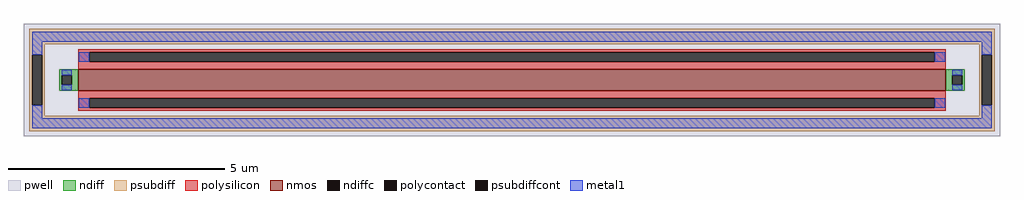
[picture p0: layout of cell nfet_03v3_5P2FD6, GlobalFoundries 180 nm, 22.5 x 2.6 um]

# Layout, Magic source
magic
tech gf180mcuD
magscale 1 10
<< pwell >>
rect -2250 -260 2250 260
<< nmos >>
rect -2000 -50 2000 50
<< ndiff >>
rect -2088 23 -2000 50
rect -2088 -23 -2075 23
rect -2029 -23 -2000 23
rect -2088 -50 -2000 -23
rect 2000 23 2088 50
rect 2000 -23 2029 23
rect 2075 -23 2088 23
rect 2000 -50 2088 -23
<< ndiffc >>
rect -2075 -23 -2029 23
rect 2029 -23 2075 23
<< psubdiff >>
rect -2226 164 2226 236
rect -2226 117 -2154 164
rect -2226 -117 -2213 117
rect -2167 -117 -2154 117
rect 2154 117 2226 164
rect -2226 -164 -2154 -117
rect 2154 -117 2167 117
rect 2213 -117 2226 117
rect 2154 -164 2226 -117
rect -2226 -236 2226 -164
<< psubdiffcont >>
rect -2213 -117 -2167 117
rect 2167 -117 2213 117
<< polysilicon >>
rect -2000 129 2000 142
rect -2000 83 -1950 129
rect 1950 83 2000 129
rect -2000 50 2000 83
rect -2000 -83 2000 -50
rect -2000 -129 -1950 -83
rect 1950 -129 2000 -83
rect -2000 -142 2000 -129
<< polycontact >>
rect -1950 83 1950 129
rect -1950 -129 1950 -83
<< metal1 >>
rect -2213 177 2213 223
rect -2213 117 -2167 177
rect -1998 83 -1950 129
rect 1950 83 1998 129
rect 2167 117 2213 177
rect -2075 23 -2029 48
rect -2075 -48 -2029 -23
rect 2029 23 2075 48
rect 2029 -48 2075 -23
rect -2213 -177 -2167 -117
rect -1998 -129 -1950 -83
rect 1950 -129 1998 -83
rect 2167 -177 2213 -117
rect -2213 -223 2213 -177
<< properties >>
string FIXED_BBOX -2190 -200 2190 200
<< end >>
